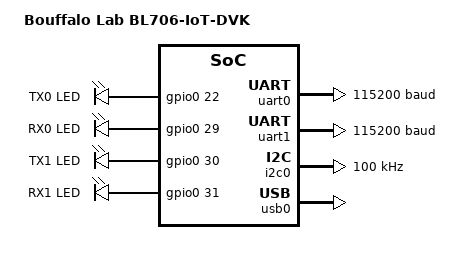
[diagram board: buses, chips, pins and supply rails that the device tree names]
/*
 * SPDX-FileCopyrightText: Copyright The Zephyr Project Contributors
 * SPDX-License-Identifier: Apache-2.0
 */

/dts-v1/;

#include "bl706_mod.dtsi"
#include "bl706_iot_dvk-pinctrl.dtsi"

/ {
	model = "Bouffalo Lab BL706-IoT-DVK";
	compatible = "bflb,bl706-iot-dvk";

	chosen {
		zephyr,flash = &flash0;
		zephyr,code-partition = &slot0_partition;
		zephyr,itcm = &itcm;
		zephyr,dtcm = &dtcm;
		zephyr,sram = &sram0_bt;
		zephyr,entropy = &sec_eng_trng;
		zephyr,bt-hci = &bt_hci_bflb;
	};

	leds {
		compatible = "gpio-leds";

		led_tx0: led_tx0 {
			gpios = <&gpio0 22 GPIO_ACTIVE_HIGH>;
			label = "TX0 LED";
		};

		led_rx0: led_rx0 {
			gpios = <&gpio0 29 GPIO_ACTIVE_HIGH>;
			label = "RX0 LED";
		};

		led_tx1: led_tx1 {
			gpios = <&gpio0 30 GPIO_ACTIVE_HIGH>;
			label = "TX1 LED";
		};

		led_rx1: led_rx1 {
			gpios = <&gpio0 31 GPIO_ACTIVE_HIGH>;
			label = "RX1 LED";
		};
	};

	aliases {
		led0 = &led_tx0;
		led1 = &led_rx0;
		led2 = &led_tx1;
		led3 = &led_rx1;
		watchdog0 = &wdt0;
	};
};

&uart0 {
	status = "okay";
	current-speed = <115200>;

	pinctrl-0 = <&uart0_default>;
	pinctrl-names = "default";
};

&uart1 {
	current-speed = <115200>;

	pinctrl-0 = <&uart1_default>;
	pinctrl-names = "default";
};

&i2c0 {
	pinctrl-0 = <&i2c0_default>;
	pinctrl-names = "default";

	clock-frequency = <I2C_BITRATE_STANDARD>;
};

&spi0 {
	pinctrl-0 = <&spi0_default>;
	pinctrl-names = "default";
};

zephyr_udc0: &usb0 {
	status = "okay";

	pinctrl-0 = <&usb_default>;
	pinctrl-names = "default";
};

#include <../boards/common/usb/cdc_acm_serial.dtsi>
